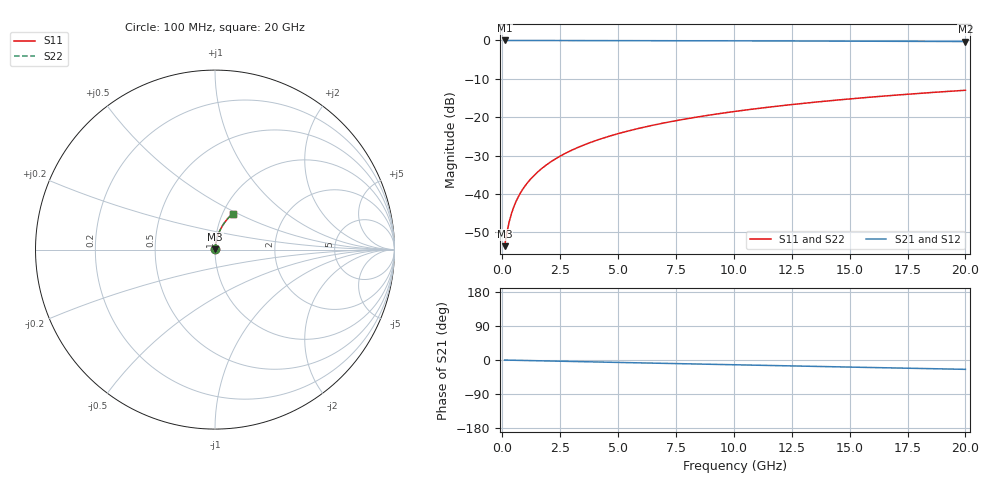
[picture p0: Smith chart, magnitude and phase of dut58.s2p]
! Touchstone file exported from HFSS 2026.1.0
!  File:  C:/ffzhzh/LocalFiles/Ansys_Project_Files/temp_train_TMRDL_58_1782880973_46784.aedt
!  Generated:  12:44:06 PM Jul  1, 2026
!  Design:  TMRDL
!  Project:  temp_train_TMRDL_58_1782880973_46784
! Variables:
!  h_bsmrdl = 2um
!  h_ox = 20um
!  h_rdl = 5um
!  h_sub = 80um
!  h_tmrdl = 4.42um
!  h_tsv = 80um
!  h_via = 3um
!  l_bsmrdl = 300um
!  l_sub = 748.95um
!  l_tmrdl = 348.95um
!  m_sub = 200um
!  pitch = 41.33um
!  r_tsv = 6um
!  s_tmrdl = 10um
!  w_bsmrdl = 18um
!  w_sub = 500um
!  w_tmrdl = 19.64um
!  x_tsv_center1 = 358.77um
!  x_tsv_center2 = 676.77um
!  x_tsv_center3 = 1045.36um
!  x_tsv_center4 = 1363.36um
!  x_tsv_center5 = 1731.95um
!  x_tsv_center6 = 2049.95um
# GHz S MA R 50.000000
! Terminal data exported
! Port[1] = TM_RDL1_1_T1
! Port[2] = TM_RDL1_1_T2
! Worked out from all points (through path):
!   200 points, 100 MHz to 20 GHz, reference 50 ohm
!   highest |S21| = -0.01 dB at 100 MHz (marker M1); lowest = -0.3 dB at 20 GHz (marker M2)
!   group delay of S21, straight-line fit = 3.42 ps
!   lowest |S11| = -53.6 dB at 100 MHz (marker M3), VSWR 1.00, Z = 50.2 + j0.137 ohm
!   |S11| at or under -10 dB: start of sweep to end of sweep
!   |S22| runs from -53.6 to -13.0 dB; largest |S21 - S12| = 2.1e-15
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0.1  0.002094 40.6  0.9984 -0.1  0.9984 -0.1  0.002094 40.6
! Gamma 0 0 0 0
! Port Impedance 50 0 50 0
0.2  0.003164 58.9  0.9983 -0.3  0.9983 -0.3  0.003162 59.0
0.3  0.004375 67.2  0.9982 -0.4  0.9982 -0.4  0.004372 67.3
0.4  0.005615 71.6  0.9982 -0.5  0.9982 -0.5  0.005612 71.7
0.5  0.006854 74.3  0.9981 -0.7  0.9981 -0.7  0.006852 74.4
0.6  0.008086 76.1  0.9981 -0.8  0.9981 -0.8  0.008085 76.2
0.8  0.01053 78.4  0.998 -1.0  0.998 -1.0  0.01053 78.5
1.1  0.01417 80.3  0.9979 -1.4  0.9979 -1.4  0.01417 80.3
1.5  0.01902 81.5  0.9977 -1.9  0.9977 -1.9  0.01903 81.5
1.8  0.02266 81.9  0.9975 -2.3  0.9975 -2.3  0.02267 81.9
2.1  0.02631 82.1  0.9973 -2.7  0.9973 -2.7  0.02631 82.1
2.7  0.03358 82.1  0.9969 -3.5  0.9969 -3.5  0.03358 82.1
3.5  0.04322 81.6  0.9962 -4.5  0.9962 -4.5  0.04322 81.6
4.2  0.05158 81.1  0.9955 -5.4  0.9955 -5.4  0.05158 81.0
5  0.06106 80.3  0.9946 -6.4  0.9946 -6.4  0.06106 80.3
5.9  0.07162 79.3  0.9935 -7.5  0.9935 -7.5  0.07162 79.3
6.8  0.08207 78.4  0.9923 -8.6  0.9923 -8.6  0.08207 78.3
8.3  0.09927 76.7  0.9902 -10.5  0.9902 -10.5  0.09927 76.7
10.1  0.1196 74.7  0.9874 -12.7  0.9874 -12.7  0.1196 74.7
13.4  0.1558 70.9  0.9815 -16.8  0.9815 -16.8  0.1558 70.9
16.7  0.1908 67.2  0.9747 -20.7  0.9747 -20.7  0.1908 67.2
20  0.2243 63.5  0.9671 -24.7  0.9671 -24.7  0.2243 63.4
